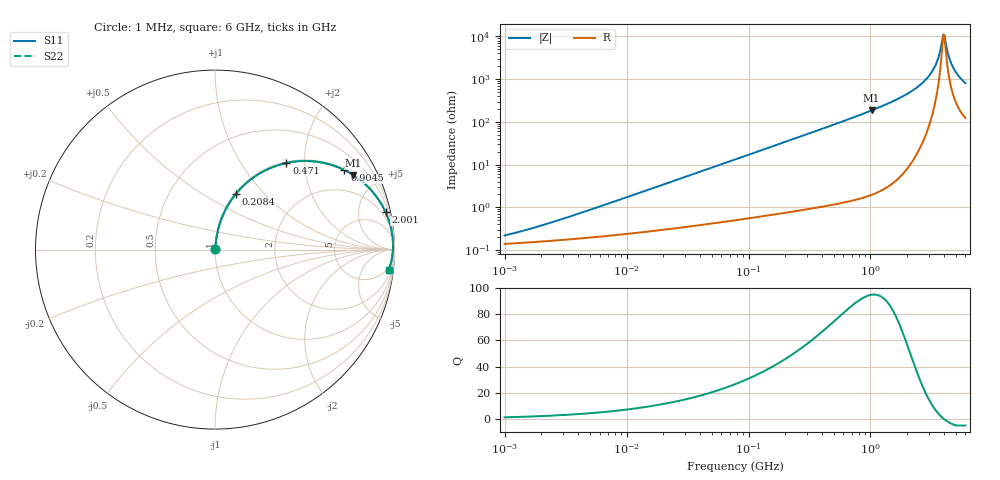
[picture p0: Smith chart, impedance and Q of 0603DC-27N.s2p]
# MHz  S  MA  R  50
!Freq  MagS11  AngS11  MagS21  AngS21  MagS12  AngS12  MagS22  AngS22
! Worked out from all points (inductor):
!   801 points, 1 MHz to 6 GHz, reference 50 ohm
!   read as one part in series: L = 27 nH near 3.065 MHz
!   highest Q = 95 at 1.019 GHz (marker M1), where L = 28.9 nH
!   self-resonance near 3.969 GHz
!   S11 on the Smith chart (normalised r, x): 1 MHz: 1.00, +0.00; 208.4 MHz: 1.02, +0.71; 471 MHz: 1.02, +1.62; 904.5 MHz: 1.03, +3.24; 2.001 GHz: 1.16, +9.07; 6 GHz: 3, -16
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1  0.002188 50.6  0.9986 -0.1  0.9986 -0.1  0.002188 50.6
4.293785  0.007508 75.1  0.9981 -0.4  0.9981 -0.4  0.007508 75.1
18.23719  0.03097 82.9  0.9967 -1.8  0.9967 -1.8  0.03097 82.9
78.30659  0.1312 80.3  0.9865 -7.5  0.9865 -7.5  0.1312 80.3
208.3725  0.3319 69.4  0.9362 -19.4  0.9362 -19.4  0.3319 69.4
332.5952  0.4906 59.7  0.8633 -29.4  0.8633 -29.4  0.4906 59.7
471.0229  0.6254 50.5  0.7717 -38.7  0.7717 -38.7  0.6254 50.5
652.7136  0.7467 41.0  0.6563 -48.3  0.6563 -48.3  0.7467 41.0
904.4891  0.8466 31.6  0.5233 -57.8  0.5233 -57.8  0.8466 31.6
1019.419  0.8759 28.3  0.4734 -61.1  0.4734 -61.1  0.8759 28.3
1412.647  0.936 20.0  0.3416 -69.4  0.3416 -69.4  0.936 20.0
2000.597  0.9729 12.4  0.2146 -76.6  0.2146 -76.6  0.9729 12.4
2625.59  0.9874 7.2  0.1258 -80.6  0.1258 -80.6  0.9874 7.2
3158.731  0.9916 4.0  0.06942 -81.1  0.06942 -81.1  0.9916 4.0
3521.596  0.9922 2.1  0.03754 -76.9  0.03754 -76.9  0.9922 2.1
3841.678  0.9917 0.6  0.01402 -53.3  0.01402 -53.3  0.9917 0.6
3969.073  0.9913 0.1  0.008903 -11.6  0.008903 -11.6  0.9913 0.1
4100.692  0.9907 -0.4  0.01202 39.4  0.01202 39.4  0.9907 -0.4
4425.027  0.989 -1.7  0.03168 68.8  0.03168 68.8  0.989 -1.7
4775.015  0.9865 -3.0  0.05346 73.9  0.05346 73.9  0.9865 -3.0
5323.554  0.9817 -4.8  0.08525 75.2  0.08525 75.2  0.9817 -4.8
6000  0.9744 -6.9  0.1209 74.4  0.1209 74.4  0.9744 -6.9
